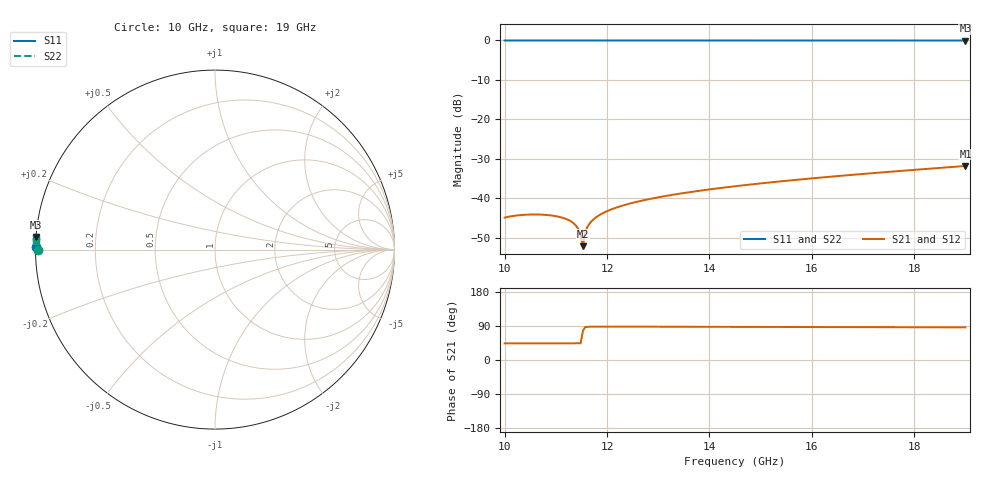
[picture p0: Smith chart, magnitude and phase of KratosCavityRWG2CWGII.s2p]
! Touchstone file exported from HFSS 2024.2.0
!  File:  C:/Users/peter/Documents/Ansoft/Maybell_cavity/KatosCavityFromMaybell.aedt
!  Generated:  09:14:43 AM Jun  4, 2025
!  Design:  LossyTransition
!  Project:  KatosCavityFromMaybell
!  Setup:  Setup1
!  Solution:  Sweep
! Variables:
!  $epsr = 5.5
!  $tandel = 0.003
!  a = 0.3in
!  d = 2.99in
!  f0_ideal = 15.3934197621267GHz
!  iris_radius = 0.07in
!  iris_width = 0.04in
!  rwg_a = 0.622in
!  rwg_b = 0.311in
!  rwg_length = 0.3in
!Data is not renormalized
# GHz S RI
! Terminal data exported
! Port[1] = Port1
! Port[2] = Port2
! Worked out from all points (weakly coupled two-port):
!   201 points, 10 GHz to 19 GHz, reference per port
!   highest |S21| = -31.80 dB at 19 GHz (marker M1); lowest = -52.1 dB at 11.53 GHz (marker M2)
!   lowest |S11| = 0.0 dB at 19 GHz (marker M3), VSWR 995.42
!   |S11| at or under -10 dB: nowhere
!   |S22| runs from -0.1 to 0.0 dB; largest |S21 - S12| = 5.1e-14
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10  -0.9994 0.0124  0.00412 0.00396  0.00412 0.00396  -0.9841 -0.000721
10.315  -0.9993 0.0158  0.00443 0.00426  0.00443 0.00426  -0.9857 -0.000633
10.63  -0.9991 0.0187  0.00451 0.00433  0.00451 0.00433  -0.9876 -0.000538
10.945  -0.999 0.0214  0.00435 0.00418  0.00435 0.00418  -0.9899 -0.000431
11.17  -0.9989 0.0231  0.00402 0.00387  0.00402 0.00387  -0.992 -0.000252
11.26  -0.9989 0.0238  0.0038 0.00366  0.0038 0.00366  -0.9927 -0.000309
11.35  -0.9989 0.0244  0.00347 0.00335  0.00347 0.00335  -0.9942 -0.000987
11.44  -0.9988 0.0251  0.00293 0.00287  0.00293 0.00287  -0.9933 -0.000251
11.485  -0.9988 0.0254  0.00239 0.00232  0.00239 0.00232  -1 -0.0168
11.53  -0.9988 0.0257  0.000554 0.00242  0.000554 0.00242  -0.9832 0.0107
11.575  -0.9988 0.026  0.000198 0.00374  0.000198 0.00374  -0.998 0.0068
11.62  -0.9988 0.0264  0.000188 0.00438  0.000188 0.00438  -0.9979 0.004
11.71  -0.9987 0.027  0.000184 0.00522  0.000184 0.00522  -0.9996 0.00606
11.845  -0.9987 0.0279  0.000205 0.0061  0.000205 0.0061  -0.9994 0.00774
12.025  -0.9986 0.0291  0.000233 0.00699  0.000233 0.00699  -0.9995 0.00976
12.295  -0.9985 0.0308  0.000277 0.00807  0.000277 0.00807  -0.9993 0.0122
13.015  -0.9982 0.0353  0.000392 0.0104  0.000392 0.0104  -0.9991 0.0173
13.69  -0.998 0.0393  0.000503 0.0122  0.000503 0.0122  -0.9988 0.0212
14.5  -0.9977 0.044  0.000644 0.0142  0.000644 0.0142  -0.9986 0.0255
16.03  -0.997 0.0526  0.000947 0.018  0.000947 0.018  -0.9981 0.0328
17.515  -0.9963 0.061  0.0013 0.0217  0.0013 0.0217  -0.9976 0.0397
19  -0.9956 0.0696  0.00173 0.0257  0.00173 0.0257  -0.9971 0.0467
